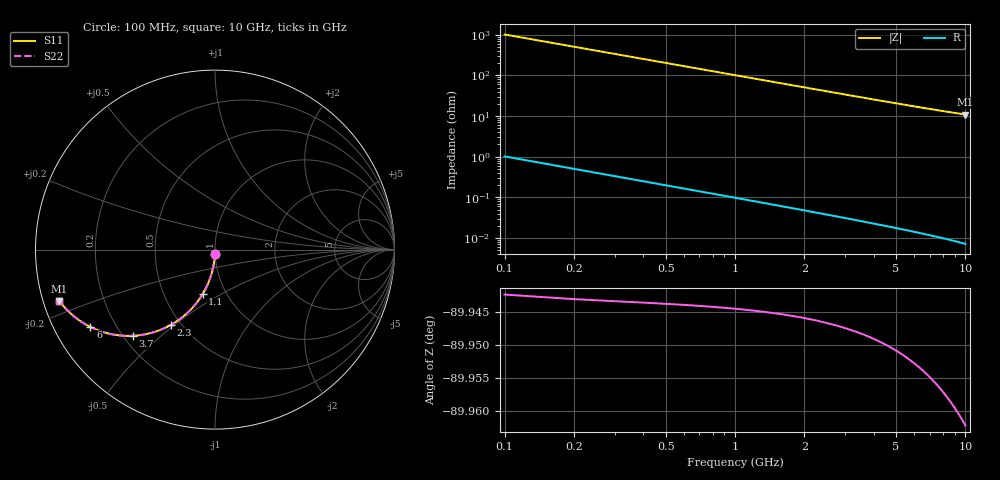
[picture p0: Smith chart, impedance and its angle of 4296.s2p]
# Hz S RI R 50.00
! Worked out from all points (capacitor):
!   100 points, 100 MHz to 10 GHz, reference 50 ohm
!   read as one part in shunt: C = 1.57 pF near 100 MHz
!   lowest |Z| = 10.9 ohm at 10 GHz (marker M1)
!   S11 on the Smith chart (normalised r, x): 100 MHz: 1.00, -0.05; 1.1 GHz: 0.78, -0.41; 2.3 GHz: 0.44, -0.49; 3.7 GHz: 0.24, -0.41; 6 GHz: 0.11, -0.28; 10 GHz: 0.05, -0.16
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1e8  -0.000512 -0.0242  0.9992 -0.0252  0.9992 -0.0252  -0.000512 -0.0242
2e8  -0.00236 -0.0483  0.9974 -0.0502  0.9974 -0.0502  -0.00236 -0.0483
3e8  -0.00541 -0.0723  0.9943 -0.0751  0.9943 -0.0751  -0.00541 -0.0723
4e8  -0.00964 -0.096  0.9901 -0.0997  0.9901 -0.0997  -0.00964 -0.096
5e8  -0.015 -0.1193  0.9847 -0.124  0.9847 -0.124  -0.015 -0.1193
6e8  -0.0215 -0.1422  0.9782 -0.1478  0.9782 -0.1478  -0.0215 -0.1422
7e8  -0.0291 -0.1646  0.9706 -0.1712  0.9706 -0.1712  -0.0291 -0.1646
9e8  -0.0472 -0.2077  0.9525 -0.2161  0.9525 -0.2161  -0.0472 -0.2077
1.1e9  -0.069 -0.248  0.9307 -0.2583  0.9307 -0.2583  -0.069 -0.248
1.4e9  -0.1072 -0.3025  0.8925 -0.3156  0.8925 -0.3156  -0.1072 -0.3025
1.8e9  -0.1658 -0.3631  0.8338 -0.38  0.8338 -0.38  -0.1658 -0.3631
2.3e9  -0.2453 -0.4191  0.7542 -0.4407  0.7542 -0.4407  -0.2453 -0.4191
2.8e9  -0.3256 -0.455  0.6738 -0.4814  0.6738 -0.4814  -0.3256 -0.455
3.4e9  -0.4167 -0.4765  0.5825 -0.5086  0.5825 -0.5086  -0.4167 -0.4765
3.7e9  -0.4587 -0.4803  0.5404 -0.5153  0.5404 -0.5153  -0.4587 -0.4803
4.4e9  -0.5463 -0.4763  0.4525 -0.5182  0.4525 -0.5182  -0.5463 -0.4763
5.1e9  -0.6193 -0.4605  0.3792 -0.5092  0.3792 -0.5092  -0.6193 -0.4605
6e9  -0.6941 -0.431  0.304 -0.4887  0.304 -0.4887  -0.6941 -0.431
6.7e9  -0.7401 -0.4049  0.2575 -0.4698  0.2575 -0.4698  -0.7401 -0.4049
7.5e9  -0.7824 -0.3745  0.2147 -0.4476  0.2147 -0.4476  -0.7824 -0.3745
8.4e9  -0.8198 -0.3409  0.1765 -0.4236  0.1765 -0.4236  -0.8198 -0.3409
1e10  -0.8675 -0.2855  0.1272 -0.3856  0.1272 -0.3856  -0.8675 -0.2855
